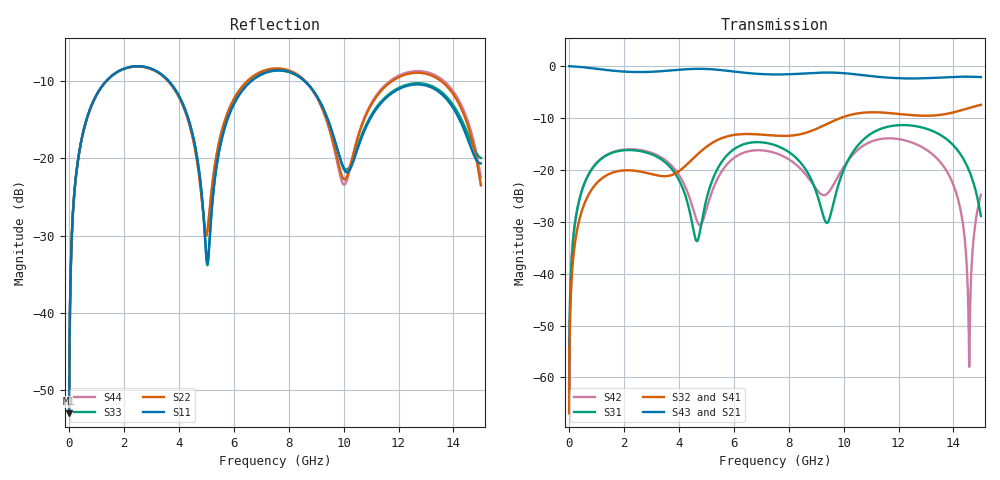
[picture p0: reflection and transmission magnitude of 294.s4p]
! Created with skrf 1.8.0 (http://scikit-rf.org).
# GHz S RI R 50.0
!freq ReS11 ImS11 ReS12 ImS12 ReS13 ImS13
! ReS14 ImS14
! ReS21 ImS21 ReS22 ImS22 ReS23 ImS23
! ReS24 ImS24
! ReS31 ImS31 ReS32 ImS32 ReS33 ImS33
! ReS34 ImS34
! ReS41 ImS41 ReS42 ImS42 ReS43 ImS43
! ReS44 ImS44
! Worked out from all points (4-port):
!   2499 points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, 5 MHz to 15 GHz, reference 50 ohm
!   strongest paths, dB at 5 MHz, 3.476 GHz, 7.19 GHz, 11.1 GHz, 15 GHz:
!     S43: 0.0, -0.9, -1.6, -2.0, -2.1
!     S21: 0.0, -0.9, -1.6, -2.0, -2.1
!     S32: -66.9, -21.2, -13.3, -8.9, -7.5
!     S41: -66.9, -21.3, -13.3, -8.9, -7.5
!     S31: -63.0, -18.4, -14.8, -12.7, -28.9
!     S42: -63.0, -18.0, -16.3, -14.4, -24.8
!   lowest |S11| = -53.0 dB at 5 MHz (marker M1), VSWR 1.00, Z = 50.2 + j0.136 ohm
!   |S11| at or under -10 dB: start of sweep to 1.362 GHz; 3.627 GHz to 6.638 GHz (3.011 GHz wide, 58.7 % of centre); 8.582 GHz to end of sweep
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0.005  0.00179 0.00136  0.9982 -0.00347  8.99e-05 0.000703  -8.74e-05 -0.000442
       0.9982 -0.00347  0.00179 0.00136  -8.74e-05 -0.000442  9e-05 0.000703
       8.99e-05 0.000703  -8.74e-05 -0.000442  0.00179 0.00136  0.9982 -0.00347
       -8.74e-05 -0.000442  9e-05 0.000703  0.9982 -0.00347  0.00179 0.00136
1.619545  0.3102 0.1576  0.4573 -0.7772  0.1383 0.0511  -0.0941 0.00915
          0.4573 -0.7772  0.3087 0.1588  -0.0942 0.00929  0.1424 0.0439
          0.1383 0.0511  -0.0942 0.00929  0.3101 0.1577  0.4572 -0.7772
          -0.0941 0.00915  0.1424 0.0439  0.4572 -0.7772  0.3088 0.1587
5.0396  0.0209 -0.000808  -0.9356 -0.0522  0.0343 0.0448  -0.00532 0.1693
        -0.9356 -0.0522  0.0321 0.00966  -0.00373 0.1693  -0.0206 0.0398
        0.0343 0.0448  -0.00373 0.1693  0.0203 -0.000913  -0.9356 -0.0522
        -0.00532 0.1693  -0.0206 0.0398  -0.9356 -0.0522  0.0326 0.00969
7.646936  0.3703 0.00273  -0.0614 0.8278  0.1371 -0.0957  0.2074 -0.042
          -0.0614 0.8278  0.3798 -0.015  0.208 -0.0456  0.1271 -0.0612
          0.1371 -0.0957  0.208 -0.0456  0.3689 0.00593  -0.0613 0.8281
          0.2074 -0.042  0.1271 -0.0612  -0.0613 0.8281  0.3797 -0.0181
10.41684  0.095 0.0388  0.8325 -0.0597  0.0853 0.1337  -0.0437 -0.3439
          0.8325 -0.0597  0.098 0.0646  -0.0504 -0.3428  0.0164 0.1465
          0.0853 0.1337  -0.0504 -0.3428  0.0991 0.0421  0.832 -0.0614
          -0.0437 -0.3439  0.0164 0.1465  0.832 -0.0614  0.0948 0.0707
14.57482  0.1125 -0.0553  -0.648 -0.4566  -0.0487 -0.0848  -0.2226 0.3254
          -0.648 -0.4566  0.0893 -0.1239  -0.212 0.3333  0.00125 0.000176
          -0.0487 -0.0848  -0.212 0.3333  0.1226 -0.0611  -0.6445 -0.4586
          -0.2226 0.3254  0.00125 0.000176  -0.6445 -0.4586  0.0939 -0.1341
15  0.0924 0.00656  -0.7403 -0.2572  -0.0346 -0.00976  -0.1368 0.4004
    -0.7403 -0.2572  0.0479 -0.0465  -0.1235 0.405  0.013 0.0561
    -0.0346 -0.00976  -0.1235 0.405  0.1003 -0.00269  -0.7383 -0.2607
    -0.1368 0.4004  0.013 0.0561  -0.7383 -0.2607  0.049 -0.0572
